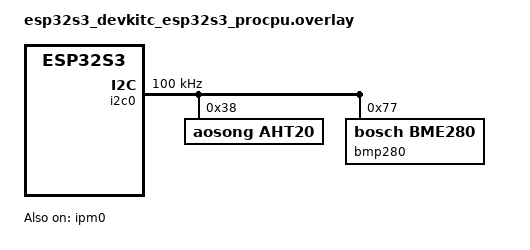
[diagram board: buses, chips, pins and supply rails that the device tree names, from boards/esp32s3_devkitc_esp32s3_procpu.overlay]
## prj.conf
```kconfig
# 05_AHT20_BMP280_MultiSensor - core0 (procpu) image

CONFIG_I2C=y
CONFIG_GPIO=y

# Zephyr Sensor subsystem - AHT20 and BMP280 use in-tree drivers,
# selected from the devicetree compatible strings in the overlay.
# If your Zephyr checkout uses different Kconfig symbol names for
# either driver, `west build -t guiconfig` and search "DHT20" / "BME280".
CONFIG_SENSOR=y
CONFIG_DHT20=y
# Enables the AHT20/DHT20 driver's CRC-8 check on each 7-byte read.
# Without this, a corrupted I2C transfer silently produces plausible-
# looking-but-wrong temperature/humidity values instead of an error -
# confirmed against drivers/sensor/aosong/dht20/dht20.c upstream.
CONFIG_DHT20_CRC=y
CONFIG_BME280=y

# Inter-core mailbox to core1 (appcpu). Driver Kconfig symbol confirmed
# against drivers/ipm/Kconfig upstream: it's ESP32_SOFT_IPM, not
# IPM_ESP32 (that name doesn't exist and caused a Kconfig warning/abort
# on first build). Defaults to y automatically once the &ipm0
# devicetree node is enabled, but set explicitly here for clarity.
CONFIG_IPM=y
CONFIG_ESP32_SOFT_IPM=y

CONFIG_LOG=y
CONFIG_LOG_MODE_IMMEDIATE=y

# sensor_value_to_double() uses double-precision math; ESP32-S3 has a
# hardware FPU.
CONFIG_FPU=y
```

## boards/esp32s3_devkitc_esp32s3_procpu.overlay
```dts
/*
 * Overlay for 05_AHT20_BMP280_MultiSensor - core0 (procpu) image
 *
 * - I2C0 remapped to SDA=GPIO8 / SCL=GPIO9, per this series' I2C0
 *   convention. Owned exclusively by core0 in this dual-core layout.
 * - AHT20 (0x38) and BMP280 (0x77 on this unit - SDO tied to VDD; see
 *   the "BMP280 I2C address" note below) both use in-tree Zephyr
 *   sensor drivers (compatible "aosong,aht20" / "bosch,bme280").
 * - The SSD1306 OLED is NOT on this bus/core - it lives on I2C1,
 *   owned by core1 (remote/boards/esp32s3_devkitc_esp32s3_appcpu.overlay).
 *   Two independent Zephyr images (AMP, not SMP) cannot safely share
 *   one physical I2C controller, so sensors and display are split
 *   across ESP32-S3's two I2C peripherals instead.
 * - &ipm0 is this image's half of the core0<->core1 mailbox used to
 *   forward sensor snapshots to core1 - see src/main.c for the actual
 *   send policy (threshold-triggered + 1s heartbeat, not a fixed period).
 *
 * IMPORTANT: verify the pinctrl macro names and the &ipm0 node name
 * against your actual west workspace before building - both are
 * written from this series' established conventions, not copied from
 * a file already known to build in this workspace.
 */

#include <dt-bindings/pinctrl/esp32s3-pinctrl.h>
#include <zephyr/dt-bindings/i2c/i2c.h>

&pinctrl {
	i2c0_default: i2c0_default {
		group1 {
			pinmux = <I2C0_SDA_GPIO8>, <I2C0_SCL_GPIO9>;
			bias-pull-up;
			drive-open-drain;
			output-high;
		};
	};
};

&i2c0 {
	status = "okay";
	clock-frequency = <I2C_BITRATE_STANDARD>; /* 100 kHz */

	aht20: aht20@38 {
		compatible = "aosong,aht20";
		reg = <0x38>;
	};

	/* Confirmed via lab_tools/i2c0_scanner on real hardware
	 * (2026-09-04): this module's SDO is tied to VDD, so it
	 * responds at 0x77, not the more common 0x76 (SDO->GND).
	 */
	bmp280: bmp280@77 {
		compatible = "bosch,bme280";
		reg = <0x77>;
	};
};

&ipm0 {
	status = "okay";
};
```

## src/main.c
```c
/*
 * main.c - 05_AHT20_BMP280_MultiSensor (core0 / procpu image)
 *
 * Architecture (dual-core AMP via IPM, change-triggered + heartbeat)
 * ---------------------------------------------------------------------
 *   [aht20_thread]  100ms  -> reads temperature AND humidity
 *                           -> sensor_hub_update_aht20(temp, hum)
 *                           -> if |temp - last_sent_temp| >= 1.0C: push now
 *                              (humidity never triggers a push by itself -
 *                               it just rides along in that payload)
 *                           -> if temp is outside AHT20's rated range, treat
 *                              the sensor as stuck and self-heal - see
 *                              "AHT20 self-heal" section below.
 *
 *   [bmp280_thread] 100ms  -> reads temperature AND pressure
 *                           -> sensor_hub_update_bmp280(temp, press)
 *                           -> if |press - last_sent_press| >= 10 hPa: push now
 *                              (BMP280 temperature never triggers a push by
 *                               itself either - same "passenger" treatment)
 *
 *   [heartbeat_thread] 1000ms -> push now, unconditionally
 *
 * All three "push now" paths funnel through push_snapshot_to_core1(),
 * which always sends the FULL current snapshot (all four values), and
 * is itself serialized by g_send_lock so concurrent triggers never
 * call ipm_send() at the same time.
 *
 * Practical effect of the "passenger" design: if AHT20 humidity alone
 * swings wildly but temperature stays flat, core1 won't see it until
 * either the next BMP280 pressure threshold trigger or the next
 * heartbeat (<=1s later) - never longer than that, but not instant
 * either. Documented in the troubleshooting doc.
 *
 * AHT20 self-heal
 * ---------------
 * Confirmed on real hardware (2026-09-04): this particular AHT20 unit
 * can get stuck returning a fixed, CRC-VALID-but-physically-impossible
 * reading (~145C / ~50% humidity - the humidity value matches exactly
 * half of the ADC's full 20-bit range, the classic signature of an
 * unconverted/reset ADC register rather than a real measurement). A
 * passing CRC only proves the bytes weren't corrupted in transit, not
 * that they represent a real conversion - so Zephyr's dht20.c driver
 * (which only checks CRC and the busy bit, not physical plausibility)
 * happily returns this stuck value forever. The only thing that was
 * confirmed to clear it was fully removing and reapplying the sensor's
 * own VCC - a Zephyr MCU reset alone does NOT reset the sensor chip
 * itself, since AHT20 stays powered across an MCU reset.
 *
 * Since we can't rely on someone physically power-cycling the sensor
 * in the field, aht20_thread_fn checks every reading against AHT20's
 * datasheet-rated range (-40C..85C). Anything outside that is treated
 * as "stuck", and the thread issues the AHT20's documented soft-reset
 * command (0xBA, no payload, ~20ms to complete per datasheet) directly
 * over I2C - bypassing the Zephyr sensor API entirely, since it has no
 * public hook for this. This mimics a real power-on reset closely
 * enough in practice to clear the stuck state without any hardware
 * change.
 *
 * core0 owns I2C0 (AHT20 + BMP280). core1 owns I2C1 (SSD1306) - see
 * the design doc for why the two cores never share a peripheral.
 */

#include <zephyr/kernel.h>
#include <zephyr/device.h>
#include <zephyr/drivers/i2c.h>
#include <zephyr/drivers/sensor.h>
#include <zephyr/drivers/ipm.h>
#include <zephyr/logging/log.h>

#include "sensor_hub.h"
#include "ipm_protocol.h"

LOG_MODULE_REGISTER(app_procpu, LOG_LEVEL_INF);

/* Devicetree handles - see boards/esp32s3_devkitc_esp32s3_procpu.overlay */
static const struct device *dev_aht20  = DEVICE_DT_GET(DT_NODELABEL(aht20));
static const struct device *dev_bmp280 = DEVICE_DT_GET(DT_NODELABEL(bmp280));
static const struct device *dev_i2c0   = DEVICE_DT_GET(DT_NODELABEL(i2c0));
static const struct device *dev_ipm    = DEVICE_DT_GET(DT_NODELABEL(ipm0));

#define SENSOR_PERIOD_MS       100
#define HEARTBEAT_PERIOD_MS    1000 /* must stay well under core1's 2 s link timeout */
#define TEMP_THRESHOLD_C       1.0f
#define PRESSURE_THRESHOLD_HPA 10.0f

/* AHT20 datasheet operating range: -40C to +85C. Anything outside this
 * cannot be a real reading and is treated as "sensor stuck" - see the
 * "AHT20 self-heal" comment above for why this is necessary and safe.
 */
#define AHT20_PLAUSIBLE_MIN_C -40.0f
#define AHT20_PLAUSIBLE_MAX_C  85.0f

/* AHT20/AHT10 documented soft-reset command - no address register, no
 * payload, single command byte. Not exposed by Zephyr's dht20.c driver
 * API, so this talks to the chip directly over I2C0. Must only be
 * called while holding g_i2c0_bus_lock.
 */
#define AHT20_I2C_ADDR       0x38
#define AHT20_CMD_SOFTRESET  0xBA
#define AHT20_SOFTRESET_SETTLE_MS 30 /* datasheet: completes within 20ms */

static int aht20_soft_reset(const struct device *i2c_dev)
{
	uint8_t cmd = AHT20_CMD_SOFTRESET;
	int ret = i2c_write(i2c_dev, &cmd, 1, AHT20_I2C_ADDR);

	if (ret == 0) {
		k_msleep(AHT20_SOFTRESET_SETTLE_MS);
	}

	return ret;
}

/* Serializes the act of pushing an IPM message - up to three threads
 * (aht20, bmp280, heartbeat) can decide to push at nearly the same
 * instant, and ipm_send() should not be called concurrently.
 */
K_MUTEX_DEFINE(g_send_lock);

static void push_snapshot_to_core1(const char *reason)
{
	struct sensor_snapshot snap;

	sensor_hub_get_snapshot(&snap);

	/* Always the FULL snapshot - humidity and BMP280 temperature
	 * ride along here even though they didn't cause this push.
	 */
	struct ipm_sensor_payload payload = {
		.aht20_temp_c = snap.aht20_temp_c,
		.aht20_humidity_pct = snap.aht20_humidity_pct,
		.aht20_valid = snap.aht20_valid,
		.bmp280_temp_c = snap.bmp280_temp_c,
		.bmp280_pressure_hpa = snap.bmp280_pressure_hpa,
		.bmp280_valid = snap.bmp280_valid,
	};

	k_mutex_lock(&g_send_lock, K_FOREVER);
	/* wait=0: don't block if the mailbox is momentarily busy. A
	 * dropped push is not fatal here - either the next threshold
	 * crossing or the next heartbeat will retry with fresher data.
	 */
	int ret = ipm_send(dev_ipm, 0, IPM_SENSOR_CHANNEL, &payload, sizeof(payload));
	k_mutex_unlock(&g_send_lock);

	if (ret) {
		LOG_WRN("ipm_send failed (%s): %d", reason, ret);
	} else {
		LOG_DBG("ipm_send ok (%s)", reason);
	}
}

/* ---------------------------------------------------------------------
 * AHT20 thread - temperature + humidity, every 100 ms.
 * Only temperature (>=1C change) triggers an immediate push.
 * ------------------------------------------------------------------- */
static void aht20_thread_fn(void *p1, void *p2, void *p3)
{
	ARG_UNUSED(p1);
	ARG_UNUSED(p2);
	ARG_UNUSED(p3);

	while (1) {
		struct sensor_value temp, hum;
		int ret;

		/* Hold the bus lock across the whole fetch+get sequence,
		 * not just the I2C calls inside it - the trigger command,
		 * the ~80ms conversion wait, and the follow-up read must
		 * all complete before BMP280's thread is allowed to touch
		 * I2C0. See sensor_hub.h for why.
		 */
		k_mutex_lock(&g_i2c0_bus_lock, K_FOREVER);

		/* sensor_sample_fetch() drives the AHT20's internal 0xAC
		 * trigger + ~80ms conversion wait; note this alone eats
		 * most of the 100ms loop budget - see the troubleshooting
		 * doc for what that means for the achievable read rate.
		 */
		ret = sensor_sample_fetch(dev_aht20);

		if (ret == 0) {
			ret = sensor_channel_get(dev_aht20, SENSOR_CHAN_AMBIENT_TEMP, &temp);
			ret |= sensor_channel_get(dev_aht20, SENSOR_CHAN_HUMIDITY, &hum);
		}

		k_mutex_unlock(&g_i2c0_bus_lock);

		if (ret == 0) {
			float temp_c = sensor_value_to_double(&temp);
			float hum_pct = sensor_value_to_double(&hum);

			if (temp_c < AHT20_PLAUSIBLE_MIN_C || temp_c > AHT20_PLAUSIBLE_MAX_C) {
				/* Physically impossible reading with a valid
				 * CRC - the chip is stuck (see file header
				 * comment). Soft-reset it directly and treat
				 * this cycle as a failed read; the next
				 * cycle should come back clean.
				 */
				int temp_tenths = (int)(temp_c * 10.0f);

				LOG_WRN("AHT20 implausible temp %d.%01dC - soft-resetting",
					temp_tenths / 10, temp_tenths % 10 < 0
						? -(temp_tenths % 10) : temp_tenths % 10);

				k_mutex_lock(&g_i2c0_bus_lock, K_FOREVER);
				int reset_ret = aht20_soft_reset(dev_i2c0);
				k_mutex_unlock(&g_i2c0_bus_lock);

				if (reset_ret) {
					LOG_WRN("AHT20 soft-reset command failed: %d", reset_ret);
				}

				sensor_hub_update_aht20(0.0f, 0.0f, false);
			} else {
				sensor_hub_update_aht20(temp_c, hum_pct, true);

				/* Humidity intentionally has no threshold check of
				 * its own - see file header comment.
				 */
				if (sensor_hub_temp_exceeds_threshold(temp_c, TEMP_THRESHOLD_C)) {
					push_snapshot_to_core1("aht20-temp-threshold");
				}
			}
		} else {
			LOG_WRN("AHT20 read failed: %d", ret);
			sensor_hub_update_aht20(0.0f, 0.0f, false);
		}

		k_sleep(K_MSEC(SENSOR_PERIOD_MS));
	}
}

/* ---------------------------------------------------------------------
 * BMP280 thread - temperature + pressure, every 100 ms.
 * Only pressure (>=10 hPa change) triggers an immediate push.
 * ------------------------------------------------------------------- */
static void bmp280_thread_fn(void *p1, void *p2, void *p3)
{
	ARG_UNUSED(p1);
	ARG_UNUSED(p2);
	ARG_UNUSED(p3);

	while (1) {
		struct sensor_value temp, press;
		int ret;

		/* Same bus lock as the AHT20 thread - see sensor_hub.h.
		 * Practical consequence: since AHT20's fetch holds this
		 * lock for ~80ms out of every 100ms cycle, this thread's
		 * actual read cadence will often be pushed later than a
		 * clean 100ms, not exactly on time - correctness (never
		 * interleaving I2C0 transactions) is prioritized over
		 * strict timing here.
		 */
		k_mutex_lock(&g_i2c0_bus_lock, K_FOREVER);

		ret = sensor_sample_fetch(dev_bmp280);

		if (ret == 0) {
			ret = sensor_channel_get(dev_bmp280, SENSOR_CHAN_AMBIENT_TEMP, &temp);
			ret |= sensor_channel_get(dev_bmp280, SENSOR_CHAN_PRESS, &press);
		}

		k_mutex_unlock(&g_i2c0_bus_lock);

		if (ret == 0) {
			float temp_c = sensor_value_to_double(&temp);
			/* Zephyr's bme280 driver reports SENSOR_CHAN_PRESS
			 * in kPa; this series uses hPa, so convert once here.
			 */
			float pressure_hpa = sensor_value_to_double(&press) * 10.0f;

			sensor_hub_update_bmp280(temp_c, pressure_hpa, true);

			/* BMP280 temperature intentionally has no threshold
			 * check of its own - see file header comment.
			 */
			if (sensor_hub_pressure_exceeds_threshold(pressure_hpa,
								   PRESSURE_THRESHOLD_HPA)) {
				push_snapshot_to_core1("bmp280-pressure-threshold");
			}
		} else {
			LOG_WRN("BMP280 read failed: %d", ret);
			sensor_hub_update_bmp280(0.0f, 0.0f, false);
		}

		k_sleep(K_MSEC(SENSOR_PERIOD_MS));
	}
}

/* ---------------------------------------------------------------------
 * Heartbeat thread - keeps core1's link indicator alive when nothing
 * has crossed a threshold recently
 * ------------------------------------------------------------------- */
static void heartbeat_thread_fn(void *p1, void *p2, void *p3)
{
	ARG_UNUSED(p1);
	ARG_UNUSED(p2);
	ARG_UNUSED(p3);

	while (1) {
		push_snapshot_to_core1("heartbeat");
		k_sleep(K_MSEC(HEARTBEAT_PERIOD_MS));
	}
}

/* ---------------------------------------------------------------------
 * Thread definitions - static allocation, auto-start at boot
 * ------------------------------------------------------------------- */
K_THREAD_DEFINE(aht20_tid, 1024, aht20_thread_fn, NULL, NULL, NULL, 7, 0, 0);
K_THREAD_DEFINE(bmp280_tid, 1024, bmp280_thread_fn, NULL, NULL, NULL, 7, 0, 0);
K_THREAD_DEFINE(heartbeat_tid, 1024, heartbeat_thread_fn, NULL, NULL, NULL, 6, 0, 0);

int main(void)
{
	LOG_INF("05_AHT20_BMP280_MultiSensor (core0/procpu) starting");

	if (!device_is_ready(dev_i2c0)) {
		LOG_ERR("I2C0 bus not ready");
		return -1;
	}
	if (!device_is_ready(dev_aht20)) {
		LOG_ERR("AHT20 device not ready - check devicetree overlay / wiring");
	}
	if (!device_is_ready(dev_bmp280)) {
		LOG_ERR("BMP280 device not ready - check devicetree overlay / wiring");
	}
	if (!device_is_ready(dev_ipm)) {
		LOG_ERR("IPM device not ready - core1 will never receive sensor data");
	}

	/* Threads above are already running (K_THREAD_DEFINE with 0 delay);
	 * main() has nothing left to do.
	 */
	return 0;
}
```
